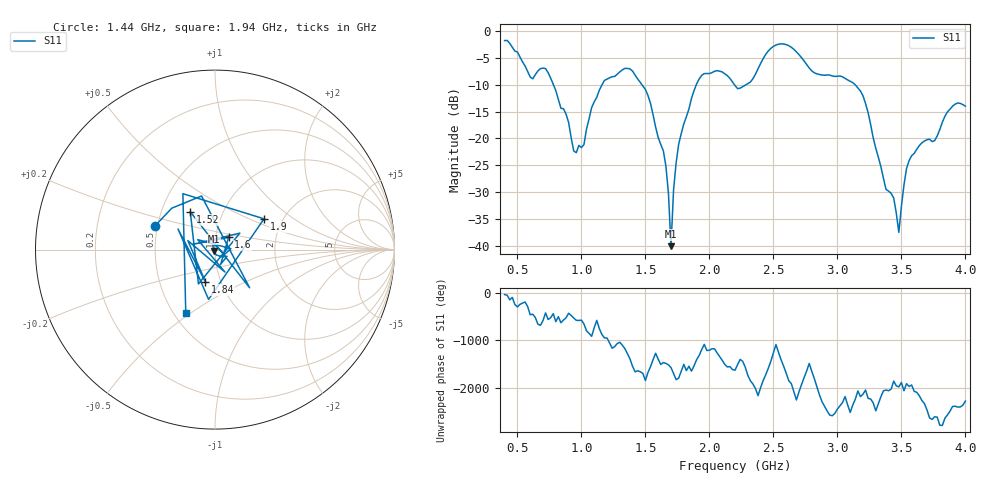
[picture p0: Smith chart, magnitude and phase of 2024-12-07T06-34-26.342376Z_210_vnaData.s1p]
!Created with skrf (http://scikit-rf.org).
# Hz S RI R 50.0
!freq ReS11 ImS11
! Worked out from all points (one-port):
!   181 points, 400 MHz to 4 GHz, reference 50 ohm
!   lowest |S11| = -40.1 dB at 1.7 GHz (marker M1), VSWR 1.02, Z = 49.3 - j0.679 ohm
!   |S11| at or under -10 dB: 781.9 MHz to 1.161 GHz (379 MHz wide, 39 % of centre); 1.473 GHz to 1.897 GHz (423.9 MHz wide, 25.2 % of centre); 3.14 GHz to end of sweep (the widest 3 of 4)
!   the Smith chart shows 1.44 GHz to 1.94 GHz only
!   S11 on the Smith chart (normalised r, x): 1.44 GHz: 0.49, +0.15; 1.52 GHz: 0.70, +0.31; 1.6 GHz: 1.15, +0.16; 1.84 GHz: 0.84, -0.32; 1.9 GHz: 1.61, +0.62; 1.94 GHz: 0.58, -0.48
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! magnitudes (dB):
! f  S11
! 400 MHz  -1.7
! 620 MHz  -8.9
! 720 MHz  -7.0
! 860 MHz  -14.4
! 960 MHz  -22.6
! 1.16 GHz  -10.0
! 1.3 GHz  -7.6
! 1.44 GHz  -8.9
! 1.52 GHz  -12.0
! 1.6 GHz  -19.8
! 1.66 GHz  -25.1
! 1.68 GHz  -30.2
! 1.7 GHz  -40.1
! 1.72 GHz  -29.6
! 1.76 GHz  -21.1
! 1.84 GHz  -14.5
! 1.9 GHz  -9.8
! 1.94 GHz  -8.2
! 2.2 GHz  -10.1
! 2.5 GHz  -2.8
! 2.66 GHz  -3.4
! 3.1 GHz  -9.3
! 3.22 GHz  -13.5
! 3.38 GHz  -29.5
! 3.44 GHz  -31.1
! 3.48 GHz  -37.5
! 3.56 GHz  -24.1
! 4 GHz  -14.0
